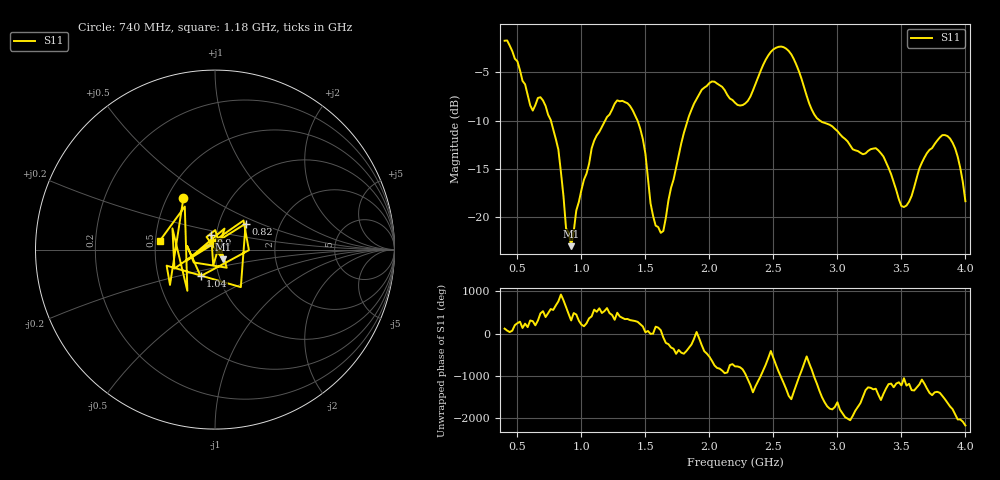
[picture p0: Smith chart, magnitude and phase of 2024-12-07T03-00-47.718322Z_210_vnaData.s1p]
!Created with skrf (http://scikit-rf.org).
# Hz S RI R 50.0
!freq ReS11 ImS11
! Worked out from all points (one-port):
!   181 points, 400 MHz to 4 GHz, reference 50 ohm
!   lowest |S11| = -23.0 dB at 920 MHz (marker M1), VSWR 1.15, Z = 54.4 - j6 ohm
!   |S11| at or under -10 dB: 761.4 MHz to 1.186 GHz (424.3 MHz wide, 43.6 % of centre); 1.438 GHz to 1.83 GHz (391.5 MHz wide, 24 % of centre); 2.863 GHz to end of sweep
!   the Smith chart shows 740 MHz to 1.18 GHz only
!   S11 on the Smith chart (normalised r, x): 740 MHz: 0.60, +0.40; 820 MHz: 1.34, +0.41; 900 MHz: 0.95, +0.15; 1.04 GHz: 0.82, -0.25; 1.18 GHz: 0.53, +0.06
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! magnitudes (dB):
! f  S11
! 400 MHz  -1.8
! 620 MHz  -9.0
! 740 MHz  -9.4
! 820 MHz  -13.0
! 860 MHz  -17.8
! 900 MHz  -21.5
! 920 MHz  -23.0
! 1.04 GHz  -15.5
! 1.18 GHz  -10.1
! 1.3 GHz  -8.0
! 1.46 GHz  -10.9
! 1.54 GHz  -18.5
! 1.62 GHz  -21.6
! 1.76 GHz  -13.5
! 1.94 GHz  -6.8
! 2.2 GHz  -8.2
! 2.3 GHz  -8.0
! 2.5 GHz  -2.7
! 2.66 GHz  -3.7
! 2.82 GHz  -9.4
! 3.1 GHz  -12.6
! 3.32 GHz  -13.1
! 3.5 GHz  -18.8
! 3.56 GHz  -18.4
! 3.68 GHz  -13.8
! 3.84 GHz  -11.5
! 3.92 GHz  -12.9
! 4 GHz  -18.3
